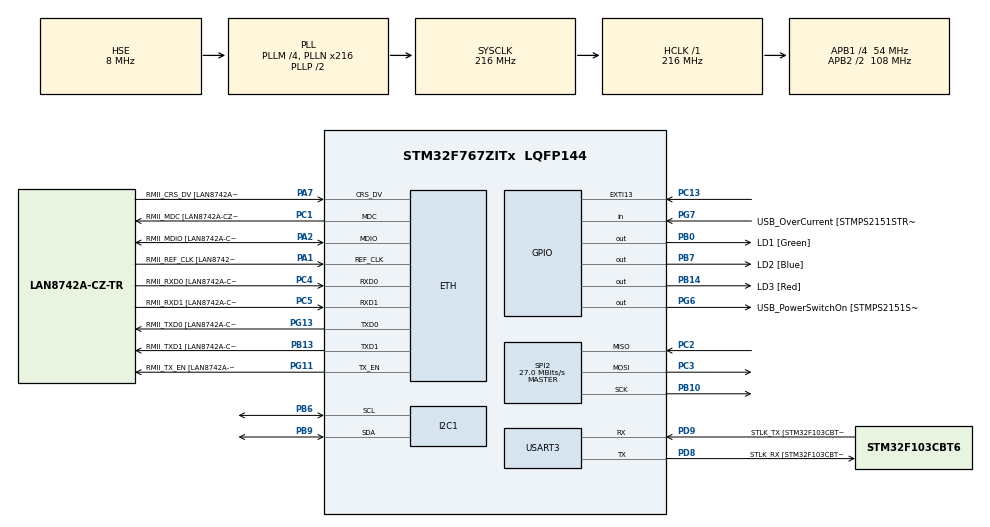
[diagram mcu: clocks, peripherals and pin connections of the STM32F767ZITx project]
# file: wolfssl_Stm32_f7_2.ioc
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SPI2.VirtualType=VM_MASTER
PB10.Mode=Full_Duplex_Master
PB14.GPIO_Label=LD3 [Red]
PG6.GPIO_Label=USB_PowerSwitchOn [STMPS2151STR_EN]
PA14.GPIO_Label=TCK
PC5.Mode=RMII
wolfSSL.I-CUBE-wolfSSL.4.7.0.WOLF_CONF_DEBUG=1
PB13.Signal=ETH_TXD1
PG13.Signal=ETH_TXD0
RCC.SYSCLKSource=RCC_SYSCLKSOURCE_PLLCLK
LWIP.LWIP_HTTPD=1
USART3.VirtualMode-Asynchronous=VM_ASYNC
RCC.APB2TimFreq_Value=216000000
PB6.Signal=I2C1_SCL
PH1/OSC_OUT.Signal=RCC_OSC_OUT
PB6.Mode=I2C
PC3.Signal=SPI2_MOSI
PD8.Signal=USART3_TX
NVIC.EXTI15_10_IRQn=true\:5\:0\:false\:false\:true\:true\:true\:true
wolfSSL.I-CUBE-wolfSSL.4.7.0.WOLF_CONF_RTOS=2
PC4.GPIO_Label=RMII_RXD0 [LAN8742A-CZ-TR_RXD0]
NVIC.TIM2_IRQn=true\:0\:0\:false\:false\:true\:false\:false\:true
SPI2.CalculateBaudRate=27.0 MBits/s
PA8.Signal=USB_OTG_FS_SOF
ETH.PHY_Name=LAN8742A_PHY_ADDRESS
VP_FREERTOS_VS_CMSIS_V1.Mode=CMSIS_V1
Mcu.Package=LQFP144
PB9.Signal=I2C1_SDA
VP_SYS_VS_tim2.Mode=TIM2
NVIC.TimeBase=TIM2_IRQn
SPI2.Mode=SPI_MODE_MASTER
NVIC.TimeBaseIP=TIM2
PA10.Signal=USB_OTG_FS_ID
RCC.APB2CLKDivider=RCC_HCLK_DIV2
RCC.APB1TimFreq_Value=108000000
PB13.Mode=RMII
PC4.Mode=RMII
FREERTOS.Tasks01=defaultTask,0,128,StartDefaultTask,Default,NULL,Dynamic,NULL,NULL;sht,-3,128,shtTask02,Default,NULL,Dynamic,NULL,NULL
PD9.GPIO_Label=STLK_TX [STM32F103CBT6_PA2]
PC13.Signal=GPXTI13
PA9.GPIO_Label=USB_VBUS
PC2.Signal=SPI2_MISO
PA11.GPIO_Label=USB_DM
LWIP.LWIP_DHCP=0
RCC.APB1CLKDivider=RCC_HCLK_DIV4
PG13.GPIO_Label=RMII_TXD0 [LAN8742A-CZ-TR_TXD0]
PA8.GPIO_Label=USB_SOF [TP1]
PA9.Signal=USB_OTG_FS_VBUS
I2C1.Timing=0x20404768
PD8.Mode=Asynchronous
PB10.Signal=SPI2_SCK
PB14.Signal=GPIO_Output
NVIC.TIM3_IRQn=true\:5\:0\:false\:false\:true\:true\:true\:true
PA1.Mode=RMII
RCC.PRESCALERUSB=RCC_USBCLKSOURCE_PLL_DIV1_5
PG7.GPIO_Label=USB_OverCurrent [STMPS2151STR_FAULT]
PA1.GPIO_Label=RMII_REF_CLK [LAN8742A-CZ-TR_REFCLK0]
PA13.Mode=Serial_Wire
ETH.MediaInterface=ETH_MEDIA_INTERFACE_RMII
PG11.Mode=RMII
PA11.Signal=USB_OTG_FS_DM
ProjectManager.HeapSize=0x200
LWIP.Version=v2.1.2_Cube
VP_TIM4_VS_ClockSourceINT.Mode=Internal
NVIC.PriorityGroup=NVIC_PRIORITYGROUP_4
PC15/OSC32_OUT.Signal=RCC_OSC32_OUT
PB0.Signal=GPIO_Output
PC1.Signal=ETH_MDC
PC1.Mode=RMII
Mcu.Family=STM32F7
PC3.Mode=Full_Duplex_Master
RCC.CortexFreq_Value=216000000
PG6.Signal=GPIO_Output
RCC.SYSCLKSourceVirtual=RCC_SYSCLKSOURCE_PLLCLK
PB0.GPIO_Label=LD1 [Green]
PC14/OSC32_IN.Mode=LSE-External-Oscillator
PB13.GPIO_Label=RMII_TXD1 [LAN8742A-CZ-TR_TXD1]
PD9.Mode=Asynchronous
PG11.Signal=ETH_TX_EN
ProjectManager.StackSize=0x400
PA12.Signal=USB_OTG_FS_DP
ETH.PHY_Value=0
PH0/OSC_IN.Mode=HSE-External-Oscillator
RCC.HCLKFreq_Value=216000000
RCC.AHBFreq_Value=216000000
NVIC.ETH_IRQn=true\:5\:0\:false\:false\:true\:true\:false\:true
RCC.HSE_VALUE=8000000
RCC.PLLMUL=RCC_PLL_MUL9
PA14.Mode=Serial_Wire
PA10.GPIO_Label=USB_ID
wolfSSL.I-CUBE-wolfSSL.4.7.0.wolfSSLCcwolfSSLJjwolfCryptJjCore=true
PB7.Signal=GPIO_Output
PG13.Mode=RMII
PH1/OSC_OUT.Mode=HSE-External-Oscillator
PB7.GPIO_Label=LD2 [Blue]
PC14/OSC32_IN.Signal=RCC_OSC32_IN
PA2.GPIO_Label=RMII_MDIO [LAN8742A-CZ-TR_MDIO]
PG11.GPIO_Label=RMII_TX_EN [LAN8742A-CZ-TR_TXEN]
SPI2.Direction=SPI_DIRECTION_2LINES
PC5.Signal=ETH_RXD1
VP_TIM3_VS_ClockSourceINT.Mode=Internal
PB3.GPIO_Label=SWO
RCC.PLLSourceVirtual=RCC_PLLSOURCE_HSE
CORTEX_M7.CPU_ICache=Enabled
PA7.Mode=RMII
PG7.Signal=GPIO_Input
wolfSSL.I-CUBE-wolfSSL.4.7.0.wolfSSLCcwolfSSLJjwolfSSLJjCore=true
wolfSSL.I-CUBE-wolfSSL.4.7.0.WOLF_CONF_MATH=4
PC4.Signal=ETH_RXD0
PC2.Mode=Full_Duplex_Master
PD9.Signal=USART3_RX
VP_RNG_VS_RNG.Mode=RNG_Activate
ETH.PhyAddress=0
PA12.GPIO_Label=USB_DP
VP_LWIP_VS_Enabled.Mode=Enabled
LWIP.LWIP_DNS=1
PD8.GPIO_Label=STLK_RX [STM32F103CBT6_PA3]
PA13.Signal=SYS_JTMS-SWDIO
CORTEX_M7.MPU_Control=MPU_HFNMI_PRIVDEF
ProjectManager.TargetToolchain=TrueSTUDIO
PB9.Mode=I2C
RCC.USBFreq_Value=48000000
PA1.Signal=ETH_REF_CLK
board=NUCLEO-F767ZI
RCC.VCOOutputFreq_Value=432000000
PH0/OSC_IN.Signal=RCC_OSC_IN
RCC.APB2Freq_Value=108000000
PC1.GPIO_Label=RMII_MDC [LAN8742A-CZ-TR_MDC]
Mcu.Name=STM32F767ZITx
PA13.GPIO_Label=TMS
PA2.Signal=ETH_MDIO
RCC.48MHZClocksFreq_Value=24000000
PB3.Signal=SYS_JTDO-SWO
RCC.SYSCLKFreq_VALUE=216000000
PA7.GPIO_Label=RMII_CRS_DV [LAN8742A-CZ-TR_CRS_DV]
PC5.GPIO_Label=RMII_RXD1 [LAN8742A-CZ-TR_RXD1]
PC15/OSC32_OUT.Mode=LSE-External-Oscillator
PA14.Signal=SYS_JTCK-SWCLK
RCC.HSI_VALUE=16000000
PH0/OSC_IN.GPIO_Label=MCO [STM32F103CBT6_PA8]
RCC.PLLQ=9
RCC.PLLM=4
RCC.PLLN=216
PA2.Mode=RMII
CORTEX_M7.CPU_DCache=Enabled
NVIC.TIM4_IRQn=true\:5\:0\:false\:false\:true\:true\:true\:true
RCC.APB1Freq_Value=54000000
PA7.Signal=ETH_CRS_DV
VP_wolfSSL.I-CUBE-wolfSSL_VS_wolfSSLJjwolfSSL_4.7.0.Mode=wolfSSLJjwolfSSL

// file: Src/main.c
/* USER CODE BEGIN Header */
/**
  ******************************************************************************
  * @file           : main.c
  * @brief          : Main program body
  ******************************************************************************
  * @attention
  *
  * <h2><center>&copy; Copyright (c) 2021 STMicroelectronics.
  * All rights reserved.</center></h2>
  *
  * This software component is licensed by ST under Ultimate Liberty license
  * SLA0044, the "License"; You may not use this file except in compliance with
  * the License. You may obtain a copy of the License at:
  *                             www.st.com/SLA0044
  *
  ******************************************************************************
  */
/* USER CODE END Header */

#include "main.h"
#include "cmsis_os.h"
#include "lwip.h"

/* USER CODE BEGIN Includes */
#include "wolfmqtt/mqtt_client.h"
#include "examples/aws/awsiot.h"
/* USER CODE END Includes */

I2C_HandleTypeDef hi2c1;

RNG_HandleTypeDef hrng;

SPI_HandleTypeDef hspi2;

TIM_HandleTypeDef htim3;
TIM_HandleTypeDef htim4;

UART_HandleTypeDef huart3;

osThreadId defaultTaskHandle;
osThreadId shtHandle;

void SystemClock_Config(void);
static void MPU_Config(void);
static void MX_GPIO_Init(void);
static void MX_I2C1_Init(void);
static void MX_TIM3_Init(void);
static void MX_TIM4_Init(void);
static void MX_USART3_UART_Init(void);
static void MX_SPI2_Init(void);
static void MX_RNG_Init(void);
void StartDefaultTask(void const * argument);
void shtTask02(void const * argument);

/* USER CODE BEGIN PFP */
void vApplicationMallocFailedHook( void ) {
	char h[40];
    sprintf(h,"malloc failed ����������������n");

    HAL_UART_Transmit(&huart3, (uint8_t *)h, strlen(h), 0xFFFF);

}
void vApplicationStackOverflowHook( TaskHandle_t xTask, signed char *pcTaskName )
{char hw[40];
    sprintf("stack overflow in task id %lu, name: %s ����-n", (uint32_t)xTask, pcTaskName);

    HAL_UART_Transmit(&huart3, (uint8_t *)hw, strlen(hw), 0xFFFF);
}
#ifdef __GNUC__
/* With GCC, small printf (option LD Linker->Libraries->Small printf
   set to 'Yes') calls __io_putchar() */
#define PUTCHAR_PROTOTYPE int __io_putchar(int ch)
#else
#define PUTCHAR_PROTOTYPE int fputc(int ch, FILE *f)
#endif /* __GNUC__ */

PUTCHAR_PROTOTYPE
{
  /* Place your implementation of fputc here */
  /* e.g. write a character to the USART3 and Loop until the end of transmission */
  HAL_UART_Transmit(&huart3, (uint8_t *)&ch, 1, 0xFFFF);

  return ch;
}
/* USER CODE END PFP */

int main(void)
{

  /* MPU Configuration--------------------------------------------------------*/
  MPU_Config();

  /* Enable I-Cache---------------------------------------------------------*/
  SCB_EnableICache();

  /* Enable D-Cache---------------------------------------------------------*/
  SCB_EnableDCache();

  /* MCU Configuration--------------------------------------------------------*/

  /* Reset of all peripherals, Initializes the Flash interface and the Systick. */
  HAL_Init();

  /* USER CODE BEGIN Init */
  setvbuf(stdin, NULL, _IONBF, 0);
  setvbuf(stdout, NULL, _IONBF, 0);
  setvbuf(stderr, NULL, _IONBF, 0);
  /* USER CODE END Init */

  /* Configure the system clock */
  SystemClock_Config();

  /* Initialize all configured peripherals */
  MX_GPIO_Init();
  MX_I2C1_Init();
  MX_TIM3_Init();
  MX_TIM4_Init();
  MX_USART3_UART_Init();
  MX_SPI2_Init();
  MX_RNG_Init();

  /* Create the thread(s) */
  /* definition and creation of defaultTask */
  osThreadDef(defaultTask, StartDefaultTask, osPriorityNormal, 0, 1024 *2);
  defaultTaskHandle = osThreadCreate(osThread(defaultTask), NULL);

  /* definition and creation of sht */
 // osThreadDef(sht, shtTask02, osPriorityIdle, 0, 128);
 // shtHandle = osThreadCreate(osThread(sht), NULL);

  /* Start scheduler */
  osKernelStart();

  /* We should never get here as control is now taken by the scheduler */
  /* Infinite loop */
  while (1)
  {

  }
}

void SystemClock_Config(void)
{
  RCC_OscInitTypeDef RCC_OscInitStruct = {0};
  RCC_ClkInitTypeDef RCC_ClkInitStruct = {0};
  RCC_PeriphCLKInitTypeDef PeriphClkInitStruct = {0};

  /** Configure LSE Drive Capability
  */
  HAL_PWR_EnableBkUpAccess();
  /** Configure the main internal regulator output voltage
  */
  __HAL_RCC_PWR_CLK_ENABLE();
  __HAL_PWR_VOLTAGESCALING_CONFIG(PWR_REGULATOR_VOLTAGE_SCALE1);
  /** Initializes the CPU, AHB and APB busses clocks
  */
  RCC_OscInitStruct.OscillatorType = RCC_OSCILLATORTYPE_HSE;
  RCC_OscInitStruct.HSEState = RCC_HSE_ON;
  RCC_OscInitStruct.PLL.PLLState = RCC_PLL_ON;
  RCC_OscInitStruct.PLL.PLLSource = RCC_PLLSOURCE_HSE;
  RCC_OscInitStruct.PLL.PLLM = 4;
  RCC_OscInitStruct.PLL.PLLN = 216;
  RCC_OscInitStruct.PLL.PLLP = RCC_PLLP_DIV2;
  RCC_OscInitStruct.PLL.PLLQ = 9;
  if (HAL_RCC_OscConfig(&RCC_OscInitStruct) != HAL_OK)
  {
    Error_Handler();
  }
  /** Activate the Over-Drive mode
  */
  if (HAL_PWREx_EnableOverDrive() != HAL_OK)
  {
    Error_Handler();
  }
  /** Initializes the CPU, AHB and APB busses clocks
  */
  RCC_ClkInitStruct.ClockType = RCC_CLOCKTYPE_HCLK|RCC_CLOCKTYPE_SYSCLK
                              |RCC_CLOCKTYPE_PCLK1|RCC_CLOCKTYPE_PCLK2;
  RCC_ClkInitStruct.SYSCLKSource = RCC_SYSCLKSOURCE_PLLCLK;
  RCC_ClkInitStruct.AHBCLKDivider = RCC_SYSCLK_DIV1;
  RCC_ClkInitStruct.APB1CLKDivider = RCC_HCLK_DIV4;
  RCC_ClkInitStruct.APB2CLKDivider = RCC_HCLK_DIV2;

  if (HAL_RCC_ClockConfig(&RCC_ClkInitStruct, FLASH_LATENCY_7) != HAL_OK)
  {
    Error_Handler();
  }
  PeriphClkInitStruct.PeriphClockSelection = RCC_PERIPHCLK_USART3|RCC_PERIPHCLK_I2C1
                              |RCC_PERIPHCLK_CLK48;
  PeriphClkInitStruct.Usart3ClockSelection = RCC_USART3CLKSOURCE_PCLK1;
  PeriphClkInitStruct.I2c1ClockSelection = RCC_I2C1CLKSOURCE_PCLK1;
  PeriphClkInitStruct.Clk48ClockSelection = RCC_CLK48SOURCE_PLL;
  RCC->APB2ENR   |= RCC_APB2ENR_SYSCFGEN;
  SYSCFG->MEMRMP |= SYSCFG_MEMRMP_SWP_FMC_0;
  if (HAL_RCCEx_PeriphCLKConfig(&PeriphClkInitStruct) != HAL_OK)
  {
    Error_Handler();
  }
}

static void MX_I2C1_Init(void)
{

  hi2c1.Instance = I2C1;
  hi2c1.Init.Timing = 0x20404768;
  hi2c1.Init.OwnAddress1 = 0;
  hi2c1.Init.AddressingMode = I2C_ADDRESSINGMODE_7BIT;
  hi2c1.Init.DualAddressMode = I2C_DUALADDRESS_DISABLE;
  hi2c1.Init.OwnAddress2 = 0;
  hi2c1.Init.OwnAddress2Masks = I2C_OA2_NOMASK;
  hi2c1.Init.GeneralCallMode = I2C_GENERALCALL_DISABLE;
  hi2c1.Init.NoStretchMode = I2C_NOSTRETCH_DISABLE;
  if (HAL_I2C_Init(&hi2c1) != HAL_OK)
  {
    Error_Handler();
  }
  /** Configure Analogue filter
  */
  if (HAL_I2CEx_ConfigAnalogFilter(&hi2c1, I2C_ANALOGFILTER_ENABLE) != HAL_OK)
  {
    Error_Handler();
  }
  /** Configure Digital filter
  */
  if (HAL_I2CEx_ConfigDigitalFilter(&hi2c1, 0) != HAL_OK)
  {
    Error_Handler();
  }

}

static void MX_RNG_Init(void)
{

  hrng.Instance = RNG;
  if (HAL_RNG_Init(&hrng) != HAL_OK)
  {
    Error_Handler();
  }

}

static void MX_SPI2_Init(void)
{

  /* SPI2 parameter configuration*/
  hspi2.Instance = SPI2;
  hspi2.Init.Mode = SPI_MODE_MASTER;
  hspi2.Init.Direction = SPI_DIRECTION_2LINES;
  hspi2.Init.DataSize = SPI_DATASIZE_4BIT;
  hspi2.Init.CLKPolarity = SPI_POLARITY_LOW;
  hspi2.Init.CLKPhase = SPI_PHASE_1EDGE;
  hspi2.Init.NSS = SPI_NSS_SOFT;
  hspi2.Init.BaudRatePrescaler = SPI_BAUDRATEPRESCALER_2;
  hspi2.Init.FirstBit = SPI_FIRSTBIT_MSB;
  hspi2.Init.TIMode = SPI_TIMODE_DISABLE;
  hspi2.Init.CRCCalculation = SPI_CRCCALCULATION_DISABLE;
  hspi2.Init.CRCPolynomial = 7;
  hspi2.Init.CRCLength = SPI_CRC_LENGTH_DATASIZE;
  hspi2.Init.NSSPMode = SPI_NSS_PULSE_ENABLE;
  if (HAL_SPI_Init(&hspi2) != HAL_OK)
  {
    Error_Handler();
  }

}

static void MX_TIM3_Init(void)
{

  TIM_ClockConfigTypeDef sClockSourceConfig = {0};
  TIM_MasterConfigTypeDef sMasterConfig = {0};

  htim3.Instance = TIM3;
  htim3.Init.Prescaler = 0;
  htim3.Init.CounterMode = TIM_COUNTERMODE_UP;
  htim3.Init.Period = 0;
  htim3.Init.ClockDivision = TIM_CLOCKDIVISION_DIV1;
  htim3.Init.AutoReloadPreload = TIM_AUTORELOAD_PRELOAD_DISABLE;
  if (HAL_TIM_Base_Init(&htim3) != HAL_OK)
  {
    Error_Handler();
  }
  sClockSourceConfig.ClockSource = TIM_CLOCKSOURCE_INTERNAL;
  if (HAL_TIM_ConfigClockSource(&htim3, &sClockSourceConfig) != HAL_OK)
  {
    Error_Handler();
  }
  sMasterConfig.MasterOutputTrigger = TIM_TRGO_RESET;
  sMasterConfig.MasterSlaveMode = TIM_MASTERSLAVEMODE_DISABLE;
  if (HAL_TIMEx_MasterConfigSynchronization(&htim3, &sMasterConfig) != HAL_OK)
  {
    Error_Handler();
  }

}

static void MX_TIM4_Init(void)
{

  TIM_ClockConfigTypeDef sClockSourceConfig = {0};
  TIM_MasterConfigTypeDef sMasterConfig = {0};

  htim4.Instance = TIM4;
  htim4.Init.Prescaler = 0;
  htim4.Init.CounterMode = TIM_COUNTERMODE_UP;
  htim4.Init.Period = 0;
  htim4.Init.ClockDivision = TIM_CLOCKDIVISION_DIV1;
  htim4.Init.AutoReloadPreload = TIM_AUTORELOAD_PRELOAD_DISABLE;
  if (HAL_TIM_Base_Init(&htim4) != HAL_OK)
  {
    Error_Handler();
  }
  sClockSourceConfig.ClockSource = TIM_CLOCKSOURCE_INTERNAL;
  if (HAL_TIM_ConfigClockSource(&htim4, &sClockSourceConfig) != HAL_OK)
  {
    Error_Handler();
  }
  sMasterConfig.MasterOutputTrigger = TIM_TRGO_RESET;
  sMasterConfig.MasterSlaveMode = TIM_MASTERSLAVEMODE_DISABLE;
  if (HAL_TIMEx_MasterConfigSynchronization(&htim4, &sMasterConfig) != HAL_OK)
  {
    Error_Handler();
  }

}

static void MX_USART3_UART_Init(void)
{

  huart3.Instance = USART3;
  huart3.Init.BaudRate = 115200;
  huart3.Init.WordLength = UART_WORDLENGTH_8B;
  huart3.Init.StopBits = UART_STOPBITS_1;
  huart3.Init.Parity = UART_PARITY_NONE;
  huart3.Init.Mode = UART_MODE_TX_RX;
  huart3.Init.HwFlowCtl = UART_HWCONTROL_NONE;
  huart3.Init.OverSampling = UART_OVERSAMPLING_16;
  huart3.Init.OneBitSampling = UART_ONE_BIT_SAMPLE_DISABLE;
  huart3.AdvancedInit.AdvFeatureInit = UART_ADVFEATURE_NO_INIT;
  if (HAL_UART_Init(&huart3) != HAL_OK)
  {
    Error_Handler();
  }

}

static void MX_GPIO_Init(void)
{
  GPIO_InitTypeDef GPIO_InitStruct = {0};

  /* GPIO Ports Clock Enable */
  __HAL_RCC_GPIOC_CLK_ENABLE();
  __HAL_RCC_GPIOH_CLK_ENABLE();
  __HAL_RCC_GPIOA_CLK_ENABLE();
  __HAL_RCC_GPIOB_CLK_ENABLE();
  __HAL_RCC_GPIOD_CLK_ENABLE();
  __HAL_RCC_GPIOG_CLK_ENABLE();

  /*Configure GPIO pin Output Level */
  HAL_GPIO_WritePin(GPIOB, LD1_Pin|LD3_Pin|LD2_Pin, GPIO_PIN_RESET);

  /*Configure GPIO pin Output Level */
  HAL_GPIO_WritePin(USB_PowerSwitchOn_GPIO_Port, USB_PowerSwitchOn_Pin, GPIO_PIN_RESET);

  /*Configure GPIO pin : PC13 */
  GPIO_InitStruct.Pin = GPIO_PIN_13;
  GPIO_InitStruct.Mode = GPIO_MODE_IT_RISING;
  GPIO_InitStruct.Pull = GPIO_NOPULL;
  HAL_GPIO_Init(GPIOC, &GPIO_InitStruct);

  /*Configure GPIO pins : LD1_Pin LD3_Pin LD2_Pin */
  GPIO_InitStruct.Pin = LD1_Pin|LD3_Pin|LD2_Pin;
  GPIO_InitStruct.Mode = GPIO_MODE_OUTPUT_PP;
  GPIO_InitStruct.Pull = GPIO_NOPULL;
  GPIO_InitStruct.Speed = GPIO_SPEED_FREQ_LOW;
  HAL_GPIO_Init(GPIOB, &GPIO_InitStruct);

  /*Configure GPIO pin : USB_PowerSwitchOn_Pin */
  GPIO_InitStruct.Pin = USB_PowerSwitchOn_Pin;
  GPIO_InitStruct.Mode = GPIO_MODE_OUTPUT_PP;
  GPIO_InitStruct.Pull = GPIO_NOPULL;
  GPIO_InitStruct.Speed = GPIO_SPEED_FREQ_LOW;
  HAL_GPIO_Init(USB_PowerSwitchOn_GPIO_Port, &GPIO_InitStruct);

  /*Configure GPIO pin : USB_OverCurrent_Pin */
  GPIO_InitStruct.Pin = USB_OverCurrent_Pin;
  GPIO_InitStruct.Mode = GPIO_MODE_INPUT;
  GPIO_InitStruct.Pull = GPIO_NOPULL;
  HAL_GPIO_Init(USB_OverCurrent_GPIO_Port, &GPIO_InitStruct);

  /*Configure GPIO pins : USB_SOF_Pin USB_ID_Pin USB_DM_Pin USB_DP_Pin */
  GPIO_InitStruct.Pin = USB_SOF_Pin|USB_ID_Pin|USB_DM_Pin|USB_DP_Pin;
  GPIO_InitStruct.Mode = GPIO_MODE_AF_PP;
  GPIO_InitStruct.Pull = GPIO_NOPULL;
  GPIO_InitStruct.Speed = GPIO_SPEED_FREQ_VERY_HIGH;
  GPIO_InitStruct.Alternate = GPIO_AF10_OTG_FS;
  HAL_GPIO_Init(GPIOA, &GPIO_InitStruct);

  /*Configure GPIO pin : USB_VBUS_Pin */
  GPIO_InitStruct.Pin = USB_VBUS_Pin;
  GPIO_InitStruct.Mode = GPIO_MODE_INPUT;
  GPIO_InitStruct.Pull = GPIO_NOPULL;
  HAL_GPIO_Init(USB_VBUS_GPIO_Port, &GPIO_InitStruct);

  /* EXTI interrupt init*/
  HAL_NVIC_SetPriority(EXTI15_10_IRQn, 5, 0);
  HAL_NVIC_EnableIRQ(EXTI15_10_IRQn);

}

/* USER CODE BEGIN 4 */
static void cloud_test(void const *arg)
{
	  MX_LWIP_Init();
      // httpd_init();
	  MQTTCtx mqttCtx;
	  char pubMsg[AWSIOT_PUBLISH_MSG_SZ] = {0};
	  sprintf(pubMsg,"Hello from Wolfssl firmware");
	  printf("hekko world \n\r");
	  mqtt_init_ctx(&mqttCtx);
	  mqttCtx.app_name = "awsiot";
	  mqttCtx.host = AWSIOT_HOST;
	  mqttCtx.qos = AWSIOT_QOS;
	  mqttCtx.keep_alive_sec = AWSIOT_KEEP_ALIVE_SEC;
	  mqttCtx.client_id = AWSIOT_DEVICE_ID;
	  mqttCtx.topic_name = AWSIOT_SUBSCRIBE_TOPIC;
	  mqttCtx.cmd_timeout_ms = AWSIOT_CMD_TIMEOUT_MS;
	  mqttCtx.port=8883;
	  mqttCtx.use_tls = 1;
	  mqttCtx.app_ctx = pubMsg;
	  int rc;
	  int argc;
	  char **argv;
	  osDelay(5000);
	  rc = mqtt_parse_args(&mqttCtx, argc, argv);
	   if (rc != 0) {
	     printf("error:%d \n\r" ,rc);
	   }
	   do {
	       rc = awsiot_test(&mqttCtx);
	   } while (rc == MQTT_CODE_CONTINUE);
	   mqtt_free_ctx(&mqttCtx);
	  for(;;)
	   {
		  HAL_GPIO_TogglePin(LD2_GPIO_Port,LD2_Pin);
		  osDelay(500);
	   }
}
/* USER CODE END 4 */

void StartDefaultTask(void const * argument)
{
  /* init code for LWIP */
	 UNUSED(argument);

//	printf("hekko world \n\r");

  /* USER CODE BEGIN 5 */
  //httpd_init();
	  osThreadDef(CLOUDNAME, &cloud_test, osPriorityNormal, 0, configMINIMAL_STACK_SIZE + 0x1000);
	  osThreadCreate (osThread(CLOUDNAME), NULL);
  /* Infinite loop */
  for(;;)
  {
	    osThreadTerminate(NULL);
  }
  /* USER CODE END 5 */
}

void shtTask02(void const * argument)
{
  for(;;)
  {
    osDelay(1);
  }
}

/* MPU Configuration */

void MPU_Config(void)
{

/* Disables the MPU */
MPU_Region_InitTypeDef MPU_InitStruct;
/* Disable the MPU */
HAL_MPU_Disable();
/* Configure the MPU as Normal Non Cacheable for Ethernet Buffers in the SRAM2 */
MPU_InitStruct.Enable = MPU_REGION_ENABLE;
MPU_InitStruct.BaseAddress = 0x2007C000;
MPU_InitStruct.Size = MPU_REGION_SIZE_16KB;
MPU_InitStruct.AccessPermission = MPU_REGION_FULL_ACCESS;
MPU_InitStruct.IsBufferable = MPU_ACCESS_NOT_BUFFERABLE;
MPU_InitStruct.IsCacheable = MPU_ACCESS_NOT_CACHEABLE;
MPU_InitStruct.IsShareable = MPU_ACCESS_SHAREABLE;
MPU_InitStruct.Number = MPU_REGION_NUMBER0;
MPU_InitStruct.TypeExtField = MPU_TEX_LEVEL1;
MPU_InitStruct.SubRegionDisable = 0x00;
MPU_InitStruct.DisableExec = MPU_INSTRUCTION_ACCESS_ENABLE;
HAL_MPU_ConfigRegion(&MPU_InitStruct);
/* Configure the MPU as Device for Ethernet Descriptors in the SRAM2 */
MPU_InitStruct.Enable = MPU_REGION_ENABLE;
MPU_InitStruct.BaseAddress = 0x2007C000;
MPU_InitStruct.Size = MPU_REGION_SIZE_256B;
MPU_InitStruct.AccessPermission = MPU_REGION_FULL_ACCESS;
MPU_InitStruct.IsBufferable = MPU_ACCESS_BUFFERABLE;
MPU_InitStruct.IsCacheable = MPU_ACCESS_NOT_CACHEABLE;
MPU_InitStruct.IsShareable = MPU_ACCESS_SHAREABLE;
MPU_InitStruct.Number = MPU_REGION_NUMBER1;
MPU_InitStruct.TypeExtField = MPU_TEX_LEVEL0;
MPU_InitStruct.SubRegionDisable = 0x00;
MPU_InitStruct.DisableExec = MPU_INSTRUCTION_ACCESS_ENABLE;
HAL_MPU_ConfigRegion(&MPU_InitStruct);
			  /* Enable the MPU */
HAL_MPU_Enable(MPU_PRIVILEGED_DEFAULT);

}
void HAL_TIM_PeriodElapsedCallback(TIM_HandleTypeDef *htim)
{
  if (htim->Instance == TIM2) {
    HAL_IncTick();
  }
}

void Error_Handler(void)
{
}

/************************ (C) COPYRIGHT STMicroelectronics *****END OF FILE****/
